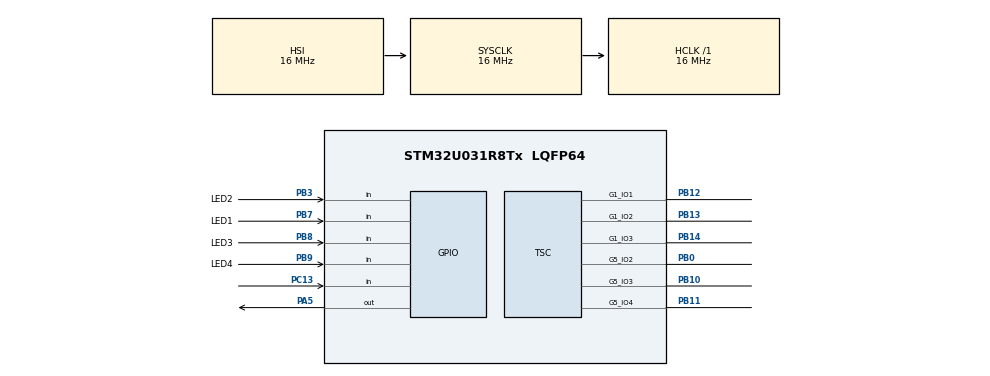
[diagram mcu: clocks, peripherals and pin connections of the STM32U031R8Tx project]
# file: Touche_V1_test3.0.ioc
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Mcu.Family=STM32U0
Mcu.Name=STM32U031R8Tx
Mcu.Package=LQFP64
NUCLEO-U031R8.BUTTON=1
NUCLEO-U031R8.LD4=true
NUCLEO-U031R8.VCP=true
NVIC.EXTI4_15_IRQn=true\:0\:0\:false\:false\:true\:false\:true\:true
NVIC.PriorityGroup=NVIC_PRIORITYGROUP_2
PA13\ (SWDIO).GPIO_Label=SWDIO
PA13\ (SWDIO).Signal=DEBUG_JTMS-SWDIO
PA14\ (SWCLK).GPIO_Label=SWCLK
PA14\ (SWCLK).Signal=DEBUG_JTCK-SWCLK
PA2.Signal=USART2_TX
PA3.Signal=USART2_RX
PA5.Signal=GPIO_Output
PB0.Mode=G5_IO2-Channel
PB0.Signal=TSC_G5_IO2
PB10.Mode=G5_IO3-Sampling
PB10.Signal=TSC_G5_IO3
PB11.Mode=G5_IO4-Channel
PB11.Signal=TSC_G5_IO4
PB12.Mode=G1_IO1-Channel
PB12.Signal=TSC_G1_IO1
PB13.Mode=G1_IO2-Sampling
PB13.Signal=TSC_G1_IO2
PB14.Mode=G1_IO3-Channel
PB14.Signal=TSC_G1_IO3
PB3.GPIO_Label=LED2
PB3.Signal=GPIO_Input
PB7.GPIO_Label=LED1
PB7.Signal=GPIO_Input
PB8.GPIO_Label=LED3
PB8.Signal=GPIO_Input
PB9.GPIO_Label=LED4
PB9.Signal=GPIO_Input
PC13.Signal=GPIO_Input
PC14-OSC32_IN.GPIO_Label=OSC32_IN
PC14-OSC32_IN.Signal=RCC_OSC32_IN
PC15-OSC32_OUT.GPIO_Label=OSC32_OUT
PC15-OSC32_OUT.Signal=RCC_OSC32_OUT
PF0-OSC_IN.GPIO_Label=OSC_IN
PF0-OSC_IN.Signal=RCC_OSC_IN
PF1-OSC_OUT.GPIO_Label=OSC_OUT
PF1-OSC_OUT.Signal=RCC_OSC_OUT
ProjectManager.HeapSize=0x200
ProjectManager.StackSize=0x400
ProjectManager.TargetToolchain=STM32CubeIDE
RCC.AHBFreq_Value=16000000
RCC.CortexFreq_Value=16000000
RCC.HCLKFreq_Value=16000000
RCC.HSE_VALUE=4000000
RCC.HSI48_VALUE=48000000
RCC.HSI_VALUE=16000000
RCC.LSE_VALUE=32768
RCC.MSI_VALUE=4000000
RCC.SYSCLKFreq_VALUE=16000000
RCC.VCOOutputFreq_Value=64000000
TOUCHSENSING.IO_TOUCHKEY1=G1_IO1
TOUCHSENSING.IO_TOUCHKEY2=G5_IO2
TOUCHSENSING.IO_TOUCHKEY3=G1_IO3
TOUCHSENSING.IO_TOUCHKEY4=G5_IO4
TOUCHSENSING.TSLPRM_SENSORS_DATAS=TSLPRM_TOTAL_TOUCHKEYS 2 2 2 
TOUCHSENSING.TSLPRM_TOTAL_TOUCHKEYS=4
TSC.ChannelIOs-G1_IO1=TSC_GROUP1_IO1
TSC.ChannelIOs-G1_IO1-Channel=TSC_GROUP1_IO1
TSC.ChannelIOs-G1_IO3=TSC_GROUP1_IO3
TSC.ChannelIOs-G1_IO3-Channel=TSC_GROUP1_IO3
TSC.ChannelIOs-G5_IO2=TSC_GROUP5_IO2
TSC.ChannelIOs-G5_IO2-Channel=TSC_GROUP5_IO2
TSC.ChannelIOs-G5_IO4=TSC_GROUP5_IO4
TSC.ChannelIOs-G5_IO4-Channel=TSC_GROUP5_IO4
TSC.SamplingIOs-G1_IO2=TSC_GROUP1_IO2
TSC.SamplingIOs-G1_IO2-Sampling=TSC_GROUP1_IO2
TSC.SamplingIOs-G5_IO3=TSC_GROUP5_IO3
TSC.SamplingIOs-G5_IO3-Sampling=TSC_GROUP5_IO3
VP_NUCLEO-U031R8_VS_BSP_COMMON.Mode=COMMON
VP_PWR_VS_SECSignals.Mode=Security/Privilege
VP_TOUCHSENSING_VS_TOUCHSENSING.Mode=TouchSensing_Enabled
board=NUCLEO-U031R8

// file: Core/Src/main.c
/* USER CODE BEGIN Header */
/**
 ******************************************************************************
 * @file           : main.c
 * @brief          : Main program body
 ******************************************************************************
 * @attention
 *
 * Copyright (c) 2026 STMicroelectronics.
 * All rights reserved.
 *
 * This software is licensed under terms that can be found in the LICENSE file
 * in the root directory of this software component.
 * If no LICENSE file comes with this software, it is provided AS-IS.
 *
 ******************************************************************************
 */
/* USER CODE END Header */
#include "main.h"
#include "touchsensing.h"

COM_InitTypeDef BspCOMInit;

TSC_HandleTypeDef htsc;

/* USER CODE BEGIN PV */
int32_t tsc_ch[4];        // Tableau des valeurs TSC (on utilise seulement l’index 0)
int32_t baseline[4];      // Valeur de référence de la touche 1
#define TOUCH_DELTA 40    // Seuil de détection d’un appui capacitif
/* USER CODE END PV */

void SystemClock_Config(void);
static void MX_GPIO_Init(void);
static void MX_TSC_Init(void);
/* USER CODE BEGIN PFP */
void TSC_ReadAll(void);
void TSC_InitBaseline(void);
void TSC_Process(void);
/* USER CODE END PFP */

int main(void)
{

  /* MCU Configuration--------------------------------------------------------*/

  /* Reset of all peripherals, Initializes the Flash interface and the Systick. */
  HAL_Init();

  /* Configure the system clock */
  SystemClock_Config();

  /* Initialize all configured peripherals */
  MX_GPIO_Init();
  MX_TSC_Init();
  MX_TOUCHSENSING_Init();

  /* Initialize leds */
  BSP_LED_Init(LED_GREEN);

  /* Initialize USER push-button, will be used to trigger an interrupt each time it's pressed.*/
  BSP_PB_Init(BUTTON_USER, BUTTON_MODE_EXTI);

  /* Initialize COM1 port (115200, 8 bits (7-bit data + 1 stop bit), no parity */
  BspCOMInit.BaudRate   = 115200;
  BspCOMInit.WordLength = COM_WORDLENGTH_8B;
  BspCOMInit.StopBits   = COM_STOPBITS_1;
  BspCOMInit.Parity     = COM_PARITY_NONE;
  BspCOMInit.HwFlowCtl  = COM_HWCONTROL_NONE;
  if (BSP_COM_Init(COM1, &BspCOMInit) != BSP_ERROR_NONE)
  {
    Error_Handler();
  }

  /* Infinite loop */
  /* USER CODE BEGIN WHILE */
 TSC_InitBaseline();			// ?????
 while (1)
 {
	  { TSC_Process();
	  // Petit délai pour améliorer la stabilité des mesures
	  HAL_Delay(200);
    /* USER CODE END WHILE */

    /* USER CODE BEGIN 3 */
 }  // Gestion de la touche capacitive 1 et de la LED 1
}
  /* USER CODE END 3 */
}

void SystemClock_Config(void)
{
  RCC_OscInitTypeDef RCC_OscInitStruct = {0};
  RCC_ClkInitTypeDef RCC_ClkInitStruct = {0};

  /** Configure the main internal regulator output voltage
  */
  HAL_PWREx_ControlVoltageScaling(PWR_REGULATOR_VOLTAGE_SCALE2);

  /** Initializes the RCC Oscillators according to the specified parameters
  * in the RCC_OscInitTypeDef structure.
  */
  RCC_OscInitStruct.OscillatorType = RCC_OSCILLATORTYPE_HSI;
  RCC_OscInitStruct.HSIState = RCC_HSI_ON;
  RCC_OscInitStruct.HSICalibrationValue = RCC_HSICALIBRATION_DEFAULT;
  RCC_OscInitStruct.PLL.PLLState = RCC_PLL_NONE;
  if (HAL_RCC_OscConfig(&RCC_OscInitStruct) != HAL_OK)
  {
    Error_Handler();
  }

  /** Initializes the CPU, AHB and APB buses clocks
  */
  RCC_ClkInitStruct.ClockType = RCC_CLOCKTYPE_HCLK|RCC_CLOCKTYPE_SYSCLK
                              |RCC_CLOCKTYPE_PCLK1;
  RCC_ClkInitStruct.SYSCLKSource = RCC_SYSCLKSOURCE_HSI;
  RCC_ClkInitStruct.AHBCLKDivider = RCC_SYSCLK_DIV1;
  RCC_ClkInitStruct.APB1CLKDivider = RCC_HCLK_DIV1;

  if (HAL_RCC_ClockConfig(&RCC_ClkInitStruct, FLASH_LATENCY_1) != HAL_OK)
  {
    Error_Handler();
  }
}

static void MX_TSC_Init(void)
{

  /** Configure the TSC peripheral
  */
  htsc.Instance = TSC;
  htsc.Init.CTPulseHighLength = TSC_CTPH_2CYCLES;
  htsc.Init.CTPulseLowLength = TSC_CTPL_2CYCLES;
  htsc.Init.SpreadSpectrum = DISABLE;
  htsc.Init.SpreadSpectrumDeviation = 1;
  htsc.Init.SpreadSpectrumPrescaler = TSC_SS_PRESC_DIV1;
  htsc.Init.PulseGeneratorPrescaler = TSC_PG_PRESC_DIV4;
  htsc.Init.MaxCountValue = TSC_MCV_8191;
  htsc.Init.IODefaultMode = TSC_IODEF_OUT_PP_LOW;
  htsc.Init.SynchroPinPolarity = TSC_SYNC_POLARITY_FALLING;
  htsc.Init.AcquisitionMode = TSC_ACQ_MODE_NORMAL;
  htsc.Init.MaxCountInterrupt = DISABLE;
  htsc.Init.ShieldIOs = 0;
  htsc.Init.ChannelIOs = TSC_GROUP1_IO1|TSC_GROUP1_IO3|TSC_GROUP5_IO2|TSC_GROUP5_IO4;
  htsc.Init.SamplingIOs = TSC_GROUP1_IO2|TSC_GROUP5_IO3;
  if (HAL_TSC_Init(&htsc) != HAL_OK)
  {
    Error_Handler();
  }
  HAL_SYSCFG_DisableTSCComparatorMode();

}

static void MX_GPIO_Init(void)
{
  GPIO_InitTypeDef GPIO_InitStruct = {0};

  /* GPIO Ports Clock Enable */
  __HAL_RCC_GPIOC_CLK_ENABLE();
  __HAL_RCC_GPIOF_CLK_ENABLE();
  __HAL_RCC_GPIOB_CLK_ENABLE();
  __HAL_RCC_GPIOA_CLK_ENABLE();

  /*Configure GPIO pins : LED2_Pin LED1_Pin LED3_Pin LED4_Pin */
  GPIO_InitStruct.Pin = LED2_Pin|LED1_Pin|LED3_Pin|LED4_Pin;
  GPIO_InitStruct.Mode = GPIO_MODE_INPUT;
  GPIO_InitStruct.Pull = GPIO_NOPULL;
  HAL_GPIO_Init(GPIOB, &GPIO_InitStruct);

}

/* USER CODE BEGIN 4 */
void TSC_ReadAll(void)
{
   // Décharge des électrodes TSC pour supprimer les charges résiduelles
   HAL_TSC_IODischarge(&htsc, ENABLE);
   HAL_Delay(1);                      // Délai pour assurer une décharge complète
   HAL_TSC_IODischarge(&htsc, DISABLE);
   // Démarrage de la mesure capacitive
   HAL_TSC_Start(&htsc);
   // Attente de la fin de l'acquisition
   HAL_TSC_PollForAcquisition(&htsc);
   // Lecture de la valeur mesurée pour la touche capacitive 1 (PB13)
   // Plus la valeur est élevée, plus la capacité est grande (doigt présent)
   tsc_ch[0] = HAL_TSC_GroupGetValue(&htsc, TSC_GROUP1_IDX);
   // Arrêt du périphérique TSC
   HAL_TSC_Stop(&htsc);
}
// Initialise la valeur de référence de la touche capacitive 1
// À appeler au démarrage lorsque la touche n’est pas touchée
void TSC_InitBaseline(void)
{
   // Lecture initiale de la touche
	for (char i=0;i<50;i++)
	{
   TSC_ReadAll();
	}
   // Sauvegarde de la valeur comme référence (sans appui)
   baseline[0] = tsc_ch[0];
   printf("Bln = %lu\r\n\r\n", baseline[0]);  // pour le debug
}
                                              // Détecte un appui sur la touche capacitive 1
// et allume ou éteint la LED 1 en conséquence
void TSC_Process(void)
{
   // Lecture de la valeur capacitive
   TSC_ReadAll();
   printf("TSC = %lu\r\n", tsc_ch[0]);  // pour le debug
   // Comparaison avec la baseline
   int32_t diff = (baseline[0] - tsc_ch[0]);
   //if ((baseline[0] - tsc_ch[0]) > TOUCH_DELTA)
   if (diff > TOUCH_DELTA)
   {
       // Appui détecté → LED 1 allumée
       HAL_GPIO_WritePin(LED1_GPIO_Port, LED1_Pin, GPIO_PIN_SET);
       HAL_Delay(1000); // Temps d'allumage 500ms
   }
   else
   {
       // Aucun appui → LED 1 éteinte
       HAL_GPIO_WritePin(LED1_GPIO_Port, LED1_Pin, GPIO_PIN_RESET);
   }
}
/* USER CODE END 4 */

void Error_Handler(void)
{
 __disable_irq();
 while (1)
 {
 }
}
